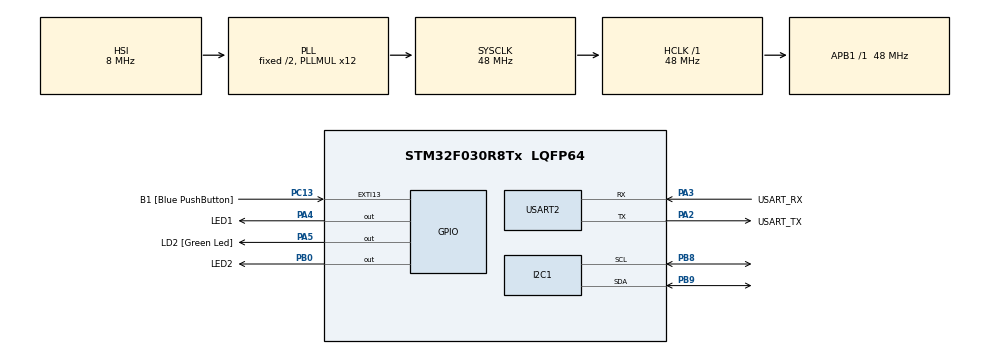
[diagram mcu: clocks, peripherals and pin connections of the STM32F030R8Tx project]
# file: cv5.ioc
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Dma.Request0=USART2_RX
Dma.USART2_RX.0.Direction=DMA_PERIPH_TO_MEMORY
Dma.USART2_RX.0.Instance=DMA1_Channel5
Dma.USART2_RX.0.MemDataAlignment=DMA_MDATAALIGN_BYTE
Dma.USART2_RX.0.MemInc=DMA_MINC_ENABLE
Dma.USART2_RX.0.Mode=DMA_CIRCULAR
Dma.USART2_RX.0.PeriphDataAlignment=DMA_PDATAALIGN_BYTE
Dma.USART2_RX.0.PeriphInc=DMA_PINC_DISABLE
Dma.USART2_RX.0.Priority=DMA_PRIORITY_LOW
Mcu.Family=STM32F0
Mcu.Name=STM32F030R8Tx
Mcu.Package=LQFP64
NVIC.DMA1_Channel4_5_IRQn=true\:0\:0\:false\:false\:true\:false\:true\:true
PA13.GPIO_Label=TMS
PA13.Mode=Serial_Wire
PA13.Signal=SYS_SWDIO
PA14.GPIO_Label=TCK
PA14.Mode=Serial_Wire
PA14.Signal=SYS_SWCLK
PA2.GPIO_Label=USART_TX
PA2.GPIO_Mode=GPIO_MODE_AF_PP
PA2.GPIO_PuPd=GPIO_NOPULL
PA2.GPIO_Speed=GPIO_SPEED_FREQ_LOW
PA2.Mode=Asynchronous
PA2.Signal=USART2_TX
PA3.GPIO_Label=USART_RX
PA3.GPIO_Mode=GPIO_MODE_AF_PP
PA3.GPIO_PuPd=GPIO_NOPULL
PA3.GPIO_Speed=GPIO_SPEED_FREQ_LOW
PA3.Mode=Asynchronous
PA3.Signal=USART2_RX
PA4.GPIO_Label=LED1
PA4.Signal=GPIO_Output
PA5.GPIO_Label=LD2 [Green Led]
PA5.GPIO_Mode=GPIO_MODE_OUTPUT_PP
PA5.GPIO_PuPd=GPIO_NOPULL
PA5.GPIO_Speed=GPIO_SPEED_FREQ_LOW
PA5.Signal=GPIO_Output
PB0.GPIO_Label=LED2
PB0.Signal=GPIO_Output
PB8.Mode=I2C
PB8.Signal=I2C1_SCL
PB9.Mode=I2C
PB9.Signal=I2C1_SDA
PC13.GPIO_Label=B1 [Blue PushButton]
PC13.GPIO_ModeDefaultEXTI=GPIO_MODE_IT_FALLING
PC13.Signal=GPXTI13
PC14-OSC32_IN.Mode=LSE-External-Oscillator
PC14-OSC32_IN.Signal=RCC_OSC32_IN
PC15-OSC32_OUT.Mode=LSE-External-Oscillator
PC15-OSC32_OUT.Signal=RCC_OSC32_OUT
PF0-OSC_IN.Mode=HSE-External-Clock-Source
PF0-OSC_IN.Signal=RCC_OSC_IN
PF1-OSC_OUT.Signal=RCC_OSC_OUT
ProjectManager.HeapSize=0x200
ProjectManager.StackSize=0x400
ProjectManager.TargetToolchain=STM32CubeIDE
RCC.AHBFreq_Value=48000000
RCC.APB1Freq_Value=48000000
RCC.APB1TimFreq_Value=48000000
RCC.HCLKFreq_Value=48000000
RCC.PLLMUL=RCC_PLL_MUL12
RCC.SYSCLKFreq_VALUE=48000000
RCC.SYSCLKSource=RCC_SYSCLKSOURCE_PLLCLK
USART2.VirtualMode-Asynchronous=VM_ASYNC
board=NUCLEO-F030R8

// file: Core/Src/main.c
/* USER CODE BEGIN Header */
/**
  ******************************************************************************
  * @file           : main.c
  * @brief          : Main program body
  ******************************************************************************
  * @attention
  *
  * Copyright (c) 2023 STMicroelectronics.
  * All rights reserved.
  *
  * This software is licensed under terms that can be found in the LICENSE file
  * in the root directory of this software component.
  * If no LICENSE file comes with this software, it is provided AS-IS.
  *
  ******************************************************************************
  */
/* USER CODE END Header */
#include "main.h"

/* USER CODE BEGIN Includes */
#include <string.h>
#include <stdio.h>
#include <stdlib.h>
/* USER CODE END Includes */

/* USER CODE BEGIN PD */
#define RX_BUFFER_LEN 64
#define CMD_BUFFER_LEN 256
#define EEPROM_ADDR  0xA0
static uint8_t uart_rx_buf[RX_BUFFER_LEN];
static volatile uint16_t uart_rx_read_ptr = 0;
#define uart_rx_write_ptr (RX_BUFFER_LEN - hdma_usart2_rx.Instance->CNDTR)
/* USER CODE END PD */

I2C_HandleTypeDef hi2c1;

UART_HandleTypeDef huart2;
DMA_HandleTypeDef hdma_usart2_rx;

void SystemClock_Config(void);
static void MX_GPIO_Init(void);
static void MX_DMA_Init(void);
static void MX_USART2_UART_Init(void);
static void MX_I2C1_Init(void);

/* USER CODE BEGIN 0 */
static void uart_process_command(char *cmd)
{
	uint16_t addr;
	uint8_t value;
	char *token;

	token = strtok(cmd, " ");
	if (strcasecmp(token, "HELLO") == 0) {
		printf("Komunikace OK\n");
	}
	else if (strcasecmp(token, "LED1") == 0) {
		token = strtok(NULL, " ");
		if (strcasecmp(token, "ON") == 0){
			HAL_GPIO_WritePin(LED1_GPIO_Port, LED1_Pin, 1);
		}
		else if (strcasecmp(token, "OFF") == 0) {
			HAL_GPIO_WritePin(LED1_GPIO_Port, LED1_Pin, 0);
		}
		printf("OK\n");
	}
	else if (strcasecmp(token, "LED2") == 0) {
		token = strtok(NULL, " ");
		if (strcasecmp(token, "ON") == 0) {
			HAL_GPIO_WritePin(LED2_GPIO_Port, LED2_Pin, 1);
		}
		else if (strcasecmp(token, "OFF") == 0) {
			HAL_GPIO_WritePin(LED2_GPIO_Port, LED2_Pin, 0);
		}
		printf("OK\n");
	}
	else if (strcasecmp(token, "STATUS") == 0) {
		uint32_t LED1 = HAL_GPIO_ReadPin (LED1_GPIO_Port, LED1_Pin);
		uint32_t LED2 = HAL_GPIO_ReadPin (LED2_GPIO_Port, LED2_Pin);

		if (LED1 == 0) {
			printf("LED1 OFF\n");
		}
		else {
			printf("LED1 ON\n");
		}
		if (LED2 == 0) {
			printf("LED2 OFF\n");
		}
		else {
			printf("LED2 ON\n");
		}
	}
	else if (strcasecmp(token, "READ") == 0) {
		// read requested address
		token = strtok(NULL, " ");
		addr = atoi(token);
		if (HAL_I2C_Mem_Read(&hi2c1, EEPROM_ADDR, addr, I2C_MEMADD_SIZE_16BIT, &value, 1, 1000) == HAL_OK){
			printf("Adresa 0x%04X : %d\n", addr, value);
		}
	}
	else if (strcasecmp(token, "WRITE") == 0) {
		// read address to be written to
		token = strtok(NULL, " ");
		addr = atoi(token);
		// read value to be written
		token = strtok(NULL, " ");
        value = atoi(token);
		if (HAL_I2C_Mem_Write(&hi2c1, EEPROM_ADDR, addr, I2C_MEMADD_SIZE_16BIT, &value, 1, 1000) == HAL_OK) {
			printf("OK\n");
		}
		/* Check if the EEPROM is ready for a new operation */
		while (HAL_I2C_IsDeviceReady(&hi2c1, EEPROM_ADDR, 300, 1000) == HAL_TIMEOUT) {}
	}
	else if (strcasecmp(token, "DUMP") == 0) {
		for (addr = 0; addr<8; addr++){
			if (HAL_I2C_Mem_Read(&hi2c1, EEPROM_ADDR, addr, I2C_MEMADD_SIZE_16BIT, &value, 1, 1000) != HAL_OK){
				return;
			}
			printf("0x%02X ", value);
		}
		printf("\n");
		for (uint8_t addr = 8; addr<16; addr++){
			if (HAL_I2C_Mem_Read(&hi2c1, EEPROM_ADDR, addr,
					I2C_MEMADD_SIZE_16BIT, &value, 1, 1000) != HAL_OK) {
				return;
			}
			printf("0x%02X ", value);
		}
		printf("\n");
	}
	else {
		printf("prijato: '%s'\n", cmd);
    }
}
int _write(int file, char const *buf, int n)
{
	/* stdout redirection to UART2 */
	HAL_UART_Transmit(&huart2, (uint8_t*)(buf), n, HAL_MAX_DELAY);
	return n;
}

static void uart_byte_available(uint8_t c) {
	static uint16_t cnt;
	static char data[CMD_BUFFER_LEN];
	if (cnt < CMD_BUFFER_LEN && c >= 32 && c <= 126) data[cnt++] = c;
	if ((c == '\n' || c == '\r') && cnt > 0) {
		data[cnt] = '\0';
		uart_process_command(data);
		cnt = 0;
	}
}
/* USER CODE END 0 */

int main(void)
{

  /* MCU Configuration--------------------------------------------------------*/

  /* Reset of all peripherals, Initializes the Flash interface and the Systick. */
  HAL_Init();

  /* Configure the system clock */
  SystemClock_Config();

  /* Initialize all configured peripherals */
  MX_GPIO_Init();
  MX_DMA_Init();
  MX_USART2_UART_Init();
  MX_I2C1_Init();
  /* USER CODE BEGIN 2 */
  HAL_UART_Receive_DMA(&huart2, uart_rx_buf, RX_BUFFER_LEN);
  /* USER CODE END 2 */

  /* Infinite loop */
  /* USER CODE BEGIN WHILE */
  while (1)
  {
	    /* Communication test
	    uint8_t c;
	    HAL_UART_Receive(&huart2, &c, 1, HAL_MAX_DELAY);
	    HAL_UART_Transmit(&huart2, &c, 1, HAL_MAX_DELAY);
	    */

		while (uart_rx_read_ptr != uart_rx_write_ptr) {
			uint8_t b = uart_rx_buf[uart_rx_read_ptr];
			if (++uart_rx_read_ptr >= RX_BUFFER_LEN) uart_rx_read_ptr = 0; // increase read pointer
			uart_byte_available(b); // process every received byte with the RX state machine
		}

    /* USER CODE END WHILE */

  }
}

void SystemClock_Config(void)
{
  RCC_OscInitTypeDef RCC_OscInitStruct = {0};
  RCC_ClkInitTypeDef RCC_ClkInitStruct = {0};
  RCC_PeriphCLKInitTypeDef PeriphClkInit = {0};

  /** Initializes the RCC Oscillators according to the specified parameters
  * in the RCC_OscInitTypeDef structure.
  */
  RCC_OscInitStruct.OscillatorType = RCC_OSCILLATORTYPE_HSI;
  RCC_OscInitStruct.HSIState = RCC_HSI_ON;
  RCC_OscInitStruct.HSICalibrationValue = RCC_HSICALIBRATION_DEFAULT;
  RCC_OscInitStruct.PLL.PLLState = RCC_PLL_ON;
  RCC_OscInitStruct.PLL.PLLSource = RCC_PLLSOURCE_HSI;
  RCC_OscInitStruct.PLL.PLLMUL = RCC_PLL_MUL12;
  RCC_OscInitStruct.PLL.PREDIV = RCC_PREDIV_DIV1;
  if (HAL_RCC_OscConfig(&RCC_OscInitStruct) != HAL_OK)
  {
    Error_Handler();
  }

  /** Initializes the CPU, AHB and APB buses clocks
  */
  RCC_ClkInitStruct.ClockType = RCC_CLOCKTYPE_HCLK|RCC_CLOCKTYPE_SYSCLK
                              |RCC_CLOCKTYPE_PCLK1;
  RCC_ClkInitStruct.SYSCLKSource = RCC_SYSCLKSOURCE_PLLCLK;
  RCC_ClkInitStruct.AHBCLKDivider = RCC_SYSCLK_DIV1;
  RCC_ClkInitStruct.APB1CLKDivider = RCC_HCLK_DIV1;

  if (HAL_RCC_ClockConfig(&RCC_ClkInitStruct, FLASH_LATENCY_1) != HAL_OK)
  {
    Error_Handler();
  }
  PeriphClkInit.PeriphClockSelection = RCC_PERIPHCLK_I2C1;
  PeriphClkInit.I2c1ClockSelection = RCC_I2C1CLKSOURCE_HSI;
  if (HAL_RCCEx_PeriphCLKConfig(&PeriphClkInit) != HAL_OK)
  {
    Error_Handler();
  }
}

static void MX_I2C1_Init(void)
{

  hi2c1.Instance = I2C1;
  hi2c1.Init.Timing = 0x2000090E;
  hi2c1.Init.OwnAddress1 = 0;
  hi2c1.Init.AddressingMode = I2C_ADDRESSINGMODE_7BIT;
  hi2c1.Init.DualAddressMode = I2C_DUALADDRESS_DISABLE;
  hi2c1.Init.OwnAddress2 = 0;
  hi2c1.Init.OwnAddress2Masks = I2C_OA2_NOMASK;
  hi2c1.Init.GeneralCallMode = I2C_GENERALCALL_DISABLE;
  hi2c1.Init.NoStretchMode = I2C_NOSTRETCH_DISABLE;
  if (HAL_I2C_Init(&hi2c1) != HAL_OK)
  {
    Error_Handler();
  }

  /** Configure Analogue filter
  */
  if (HAL_I2CEx_ConfigAnalogFilter(&hi2c1, I2C_ANALOGFILTER_ENABLE) != HAL_OK)
  {
    Error_Handler();
  }

  /** Configure Digital filter
  */
  if (HAL_I2CEx_ConfigDigitalFilter(&hi2c1, 0) != HAL_OK)
  {
    Error_Handler();
  }

}

static void MX_USART2_UART_Init(void)
{

  huart2.Instance = USART2;
  huart2.Init.BaudRate = 38400;
  huart2.Init.WordLength = UART_WORDLENGTH_8B;
  huart2.Init.StopBits = UART_STOPBITS_1;
  huart2.Init.Parity = UART_PARITY_NONE;
  huart2.Init.Mode = UART_MODE_TX_RX;
  huart2.Init.HwFlowCtl = UART_HWCONTROL_NONE;
  huart2.Init.OverSampling = UART_OVERSAMPLING_16;
  huart2.Init.OneBitSampling = UART_ONE_BIT_SAMPLE_DISABLE;
  huart2.AdvancedInit.AdvFeatureInit = UART_ADVFEATURE_NO_INIT;
  if (HAL_UART_Init(&huart2) != HAL_OK)
  {
    Error_Handler();
  }

}

static void MX_DMA_Init(void)
{

  /* DMA controller clock enable */
  __HAL_RCC_DMA1_CLK_ENABLE();

  /* DMA interrupt init */
  /* DMA1_Channel4_5_IRQn interrupt configuration */
  HAL_NVIC_SetPriority(DMA1_Channel4_5_IRQn, 0, 0);
  HAL_NVIC_EnableIRQ(DMA1_Channel4_5_IRQn);

}

static void MX_GPIO_Init(void)
{
  GPIO_InitTypeDef GPIO_InitStruct = {0};

  /* GPIO Ports Clock Enable */
  __HAL_RCC_GPIOC_CLK_ENABLE();
  __HAL_RCC_GPIOF_CLK_ENABLE();
  __HAL_RCC_GPIOA_CLK_ENABLE();
  __HAL_RCC_GPIOB_CLK_ENABLE();

  /*Configure GPIO pin Output Level */
  HAL_GPIO_WritePin(GPIOA, LED1_Pin|LD2_Pin, GPIO_PIN_RESET);

  /*Configure GPIO pin Output Level */
  HAL_GPIO_WritePin(LED2_GPIO_Port, LED2_Pin, GPIO_PIN_RESET);

  /*Configure GPIO pin : B1_Pin */
  GPIO_InitStruct.Pin = B1_Pin;
  GPIO_InitStruct.Mode = GPIO_MODE_IT_FALLING;
  GPIO_InitStruct.Pull = GPIO_NOPULL;
  HAL_GPIO_Init(B1_GPIO_Port, &GPIO_InitStruct);

  /*Configure GPIO pins : LED1_Pin LD2_Pin */
  GPIO_InitStruct.Pin = LED1_Pin|LD2_Pin;
  GPIO_InitStruct.Mode = GPIO_MODE_OUTPUT_PP;
  GPIO_InitStruct.Pull = GPIO_NOPULL;
  GPIO_InitStruct.Speed = GPIO_SPEED_FREQ_LOW;
  HAL_GPIO_Init(GPIOA, &GPIO_InitStruct);

  /*Configure GPIO pin : LED2_Pin */
  GPIO_InitStruct.Pin = LED2_Pin;
  GPIO_InitStruct.Mode = GPIO_MODE_OUTPUT_PP;
  GPIO_InitStruct.Pull = GPIO_NOPULL;
  GPIO_InitStruct.Speed = GPIO_SPEED_FREQ_LOW;
  HAL_GPIO_Init(LED2_GPIO_Port, &GPIO_InitStruct);

}

void Error_Handler(void)
{
  __disable_irq();
  while (1)
  {
  }
}
